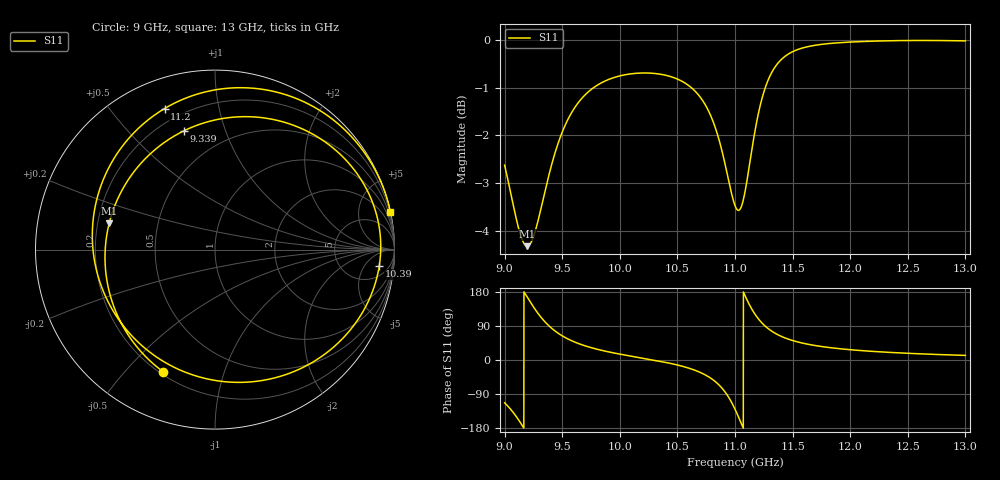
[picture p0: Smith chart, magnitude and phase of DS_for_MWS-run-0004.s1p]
! TOUCHSTONE file generated by CST DESIGN STUDIO
! Date and time: Tue Feb  4 18:41:37 2025
! Project name: C:\Work\MatlabApps\UnitCellOptimizationMatlab\CST\unitcell.cst
! Tree item: Tasks\Sweep1\SPara1\S-Parameters
! Header version: 2024
! Port assignment regex: !\s*Touchstone port\s*([0-9]+)\s*=\s*(CST MWS port|CST DES external port|CST DES block port)\s*(.+)\s* \(\"(.*)\"\)(\s*mode\s*([0-9]+))?.*
! Touchstone port assignment:
! Touchstone port 1 = CST DES external port 1 ("")
# GHz S MA R 50
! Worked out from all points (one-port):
!   4001 points, 9 GHz to 13 GHz, reference 50 ohm
!   lowest |S11| = -4.3 dB at 9.196 GHz (marker M1), VSWR 4.10, Z = 12.4 + j5.71 ohm
!   |S11| at or under -10 dB: nowhere
!   S11 on the Smith chart (normalised r, x): 9 GHz: 0.21, -0.64; 9.339 GHz: 0.29, +0.73; 10.39 GHz: 10, -12; 11.2 GHz: 0.13, +0.70; 13 GHz: 0.05, +9.43
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9  0.7393 -113.0
9.114  0.6396 -154.8
9.196  0.6076 166.1
9.271  0.6331 130.9
9.339  0.6844 104.5
9.411  0.7422 83.0
9.5  0.8008 63.8
9.707  0.8785 36.6
10  0.9176 15.5
10.387  0.9197 -5.6
10.5  0.9107 -13.2
10.67  0.88 -29.2
10.792  0.8319 -48.5
10.856  0.7903 -64.3
10.917  0.7382 -85.7
10.96  0.6988 -106.1
11  0.6703 -129.8
11.048  0.6657 -162.8
11.091  0.6974 167.3
11.148  0.7698 133.2
11.2  0.8345 109.7
11.26  0.8899 90.0
11.339  0.9342 72.2
11.5  0.9731 51.4
11.701  0.9886 37.9
12  0.996 27.1
12.5  0.9998 17.7
13  0.9989 12.1
